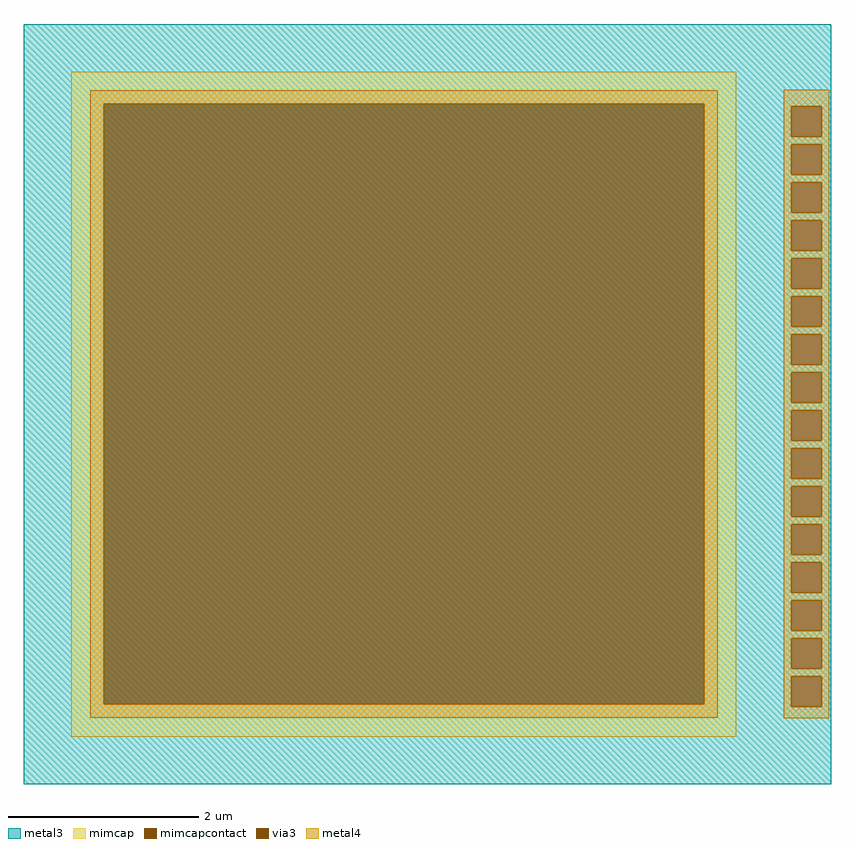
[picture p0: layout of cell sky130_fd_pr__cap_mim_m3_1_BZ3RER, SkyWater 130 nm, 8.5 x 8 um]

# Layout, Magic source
magic
tech sky130A
magscale 1 2
<< metal3 >>
rect -850 627 849 800
rect -850 563 765 627
rect 829 563 849 627
rect -850 547 849 563
rect -850 483 765 547
rect 829 483 849 547
rect -850 467 849 483
rect -850 403 765 467
rect 829 403 849 467
rect -850 387 849 403
rect -850 323 765 387
rect 829 323 849 387
rect -850 307 849 323
rect -850 243 765 307
rect 829 243 849 307
rect -850 227 849 243
rect -850 163 765 227
rect 829 163 849 227
rect -850 147 849 163
rect -850 83 765 147
rect 829 83 849 147
rect -850 67 849 83
rect -850 3 765 67
rect 829 3 849 67
rect -850 -13 849 3
rect -850 -77 765 -13
rect 829 -77 849 -13
rect -850 -93 849 -77
rect -850 -157 765 -93
rect 829 -157 849 -93
rect -850 -173 849 -157
rect -850 -237 765 -173
rect 829 -237 849 -173
rect -850 -253 849 -237
rect -850 -317 765 -253
rect 829 -317 849 -253
rect -850 -333 849 -317
rect -850 -397 765 -333
rect 829 -397 849 -333
rect -850 -413 849 -397
rect -850 -477 765 -413
rect 829 -477 849 -413
rect -850 -493 849 -477
rect -850 -557 765 -493
rect 829 -557 849 -493
rect -850 -573 849 -557
rect -850 -637 765 -573
rect 829 -637 849 -573
rect -850 -800 849 -637
<< via3 >>
rect 765 563 829 627
rect 765 483 829 547
rect 765 403 829 467
rect 765 323 829 387
rect 765 243 829 307
rect 765 163 829 227
rect 765 83 829 147
rect 765 3 829 67
rect 765 -77 829 -13
rect 765 -157 829 -93
rect 765 -237 829 -173
rect 765 -317 829 -253
rect 765 -397 829 -333
rect 765 -477 829 -413
rect 765 -557 829 -493
rect 765 -637 829 -573
<< mimcap >>
rect -750 632 650 700
rect -750 -632 -682 632
rect 582 -632 650 632
rect -750 -700 650 -632
<< mimcapcontact >>
rect -682 -632 582 632
<< metal4 >>
rect -711 632 611 661
rect -711 -632 -682 632
rect 582 -632 611 632
rect -711 -661 611 -632
rect 749 627 845 662
rect 749 563 765 627
rect 829 563 845 627
rect 749 547 845 563
rect 749 483 765 547
rect 829 483 845 547
rect 749 467 845 483
rect 749 403 765 467
rect 829 403 845 467
rect 749 387 845 403
rect 749 323 765 387
rect 829 323 845 387
rect 749 307 845 323
rect 749 243 765 307
rect 829 243 845 307
rect 749 227 845 243
rect 749 163 765 227
rect 829 163 845 227
rect 749 147 845 163
rect 749 83 765 147
rect 829 83 845 147
rect 749 67 845 83
rect 749 3 765 67
rect 829 3 845 67
rect 749 -13 845 3
rect 749 -77 765 -13
rect 829 -77 845 -13
rect 749 -93 845 -77
rect 749 -157 765 -93
rect 829 -157 845 -93
rect 749 -173 845 -157
rect 749 -237 765 -173
rect 829 -237 845 -173
rect 749 -253 845 -237
rect 749 -317 765 -253
rect 829 -317 845 -253
rect 749 -333 845 -317
rect 749 -397 765 -333
rect 829 -397 845 -333
rect 749 -413 845 -397
rect 749 -477 765 -413
rect 829 -477 845 -413
rect 749 -493 845 -477
rect 749 -557 765 -493
rect 829 -557 845 -493
rect 749 -573 845 -557
rect 749 -637 765 -573
rect 829 -637 845 -573
rect 749 -662 845 -637
<< properties >>
string FIXED_BBOX -850 -800 750 800
<< end >>
